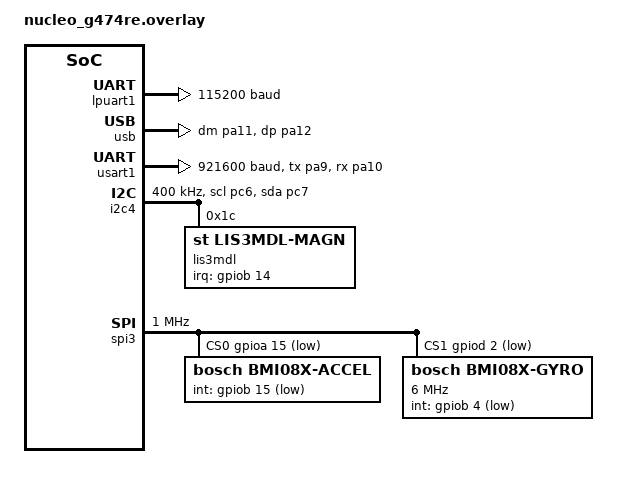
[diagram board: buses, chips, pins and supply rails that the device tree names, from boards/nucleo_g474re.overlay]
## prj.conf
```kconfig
CONFIG_GPIO=y
CONFIG_MICROROS=y
CONFIG_MICROROS_TRANSPORT_SERIAL_USB=n
CONFIG_MICROROS_TRANSPORT_SERIAL=y

CONFIG_MAIN_STACK_SIZE=25000
CONFIG_MAIN_THREAD_PRIORITY=3

CONFIG_NEWLIB_LIBC=y
CONFIG_NEWLIB_LIBC_NANO=n
CONFIG_PTHREAD_IPC=n

CONFIG_POSIX_API=y
CONFIG_APP_LINK_WITH_POSIX_SUBSYS=y
CONFIG_POSIX_CLOCK=y

CONFIG_STDOUT_CONSOLE=y
CONFIG_LOG=y
CONFIG_SERIAL=y
CONFIG_UART_INTERRUPT_DRIVEN=y
CONFIG_UART_LINE_CTRL=y

CONFIG_I2C=y
CONFIG_SENSOR=y
CONFIG_GPIO=y

CONFIG_LIS3MDL_TRIGGER_OWN_THREAD=y
CONFIG_LIS3MDL_ODR="155"


CONFIG_USB_DEVICE_STACK=y
CONFIG_USB_DEVICE_PRODUCT="Zephyr micro-ROS"
CONFIG_LOG=y
CONFIG_USB_CDC_ACM=y
CONFIG_USB_DRIVER_LOG_LEVEL_ERR=y
CONFIG_USB_DEVICE_LOG_LEVEL_ERR=y
CONFIG_USB_CDC_ACM_RINGBUF_SIZE=2048


CONFIG_MICROROS_XRCE_DDS_MTU="512"
CONFIG_MICROROS_XRCE_DDS_HISTORIC="4"
```

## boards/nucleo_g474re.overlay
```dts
/ {
    aliases {
        uros-serial-port = &usart1;
        
    };
    chosen {
        zephyr,canbus = &fdcan1;
        //zephyr,console=&usart1;
    };
};


&lpuart1{
    status="okay";
    current-speed=<115200>;
    //status = "disabled";
};


zephyr_udc0: &usb {
	pinctrl-0 = <&usb_dm_pa11 &usb_dp_pa12>;
	pinctrl-names = "default";
	status = "okay";
}; 
 
&zephyr_udc0 {
    cdc_acm_uart0: cdc_acm_uart0 {
            compatible = "zephyr,cdc-acm-uart";
            label = "CDC_ACM_0";
    };
}; 

&usart1{
    //pinctrl-0 = <&usart1_tx_pb6 &usart1_rx_pb7>;
    pinctrl-0 = <&usart1_tx_pa9 &usart1_rx_pa10>;
    pinctrl-names="default";
    current-speed=<921600>;
    status="okay";
    
};
&i2c4 {
    clock-frequency = <I2C_BITRATE_FAST>;
    status = "okay";
    pinctrl-0 = <&i2c4_scl_pc6 &i2c4_sda_pc7>;
	pinctrl-names = "default";


    
    lis3mdl: lis3mdl-magn@1c                                                           {
        compatible = "st,lis3mdl-magn";
        reg = <0x1c>;
        status = "okay";
        irq-gpios = < &gpiob 14 GPIO_ACTIVE_HIGH >;
    };

    
};

&spi3 {                                                                                                                                            
    clock-frequency = <1000000>;                                                                                                                   
    status = "ok";                                                                                                                                 
    cs-gpios = <&gpioa 15 GPIO_ACTIVE_LOW>,                                                                                                        
                <&gpiod 2 GPIO_ACTIVE_LOW>;                                                                                                        
    bmi08x-accel@0 {                                                                                                                               
        compatible = "bosch,bmi08x-accel";                                                                                                         
        reg = <0x0 >;                                                                                                                              
        spi-max-frequency = <0>;                                                                                                                   
        accel-hz = "100";                                                                                                                          
        accel-fs = <4>;                                                                                                                            
        int-gpios = <&gpiob 15 GPIO_ACTIVE_LOW>;                                                                                                   
        int1-map-io = <1>;                                                                                                                         
        int1-conf-io = <0>;                                                                                                                        
        int2-map-io = <0>;                                                                                                                         
        int2-conf-io = <0>;                                                                                                                        
                                                                                                                                                   
    };                                                                                                                                             
                                                                                                                                                   
    bmi08x-gyro@1 {                                                                                                                                
        compatible = "bosch,bmi08x-gyro";                                                                                                          
        reg = <0x1 >;                                                                                                                              
        spi-max-frequency = <6000000>;                                                                                                             
        gyro-hz = "100_32";                                                                                                                        
        gyro-fs = <500>;                                                                                                                           
        int-gpios = <&gpiob 4 GPIO_ACTIVE_LOW >;                                                                                                   
        int3-4-map-io = <128>;                                                                                                                     
        int3-4-conf-io = < 0 >;                                                                                                                    
    };                                                                                                                                             
                                                                                                                                                   
}; 
```

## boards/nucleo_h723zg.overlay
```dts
/ {
    aliases {
        uros-serial-port = &usart3;
    };
    chosen {
        zephyr,canbus = &fdcan1;
    };
};

&usart3 {
    status = "okay"; 
    current-speed = <921600>; 
};

&fdcan1 {
    status = "okay";
    bus-speed = < 500000 >;
    bus-speed-data = < 500000 >;
    pinctrl-0 = < &fdcan1_rx_pb8 &fdcan1_tx_pb9 >;
    pinctrl-names = "default";
    
};

&zephyr_udc0 {
    cdc_acm_uart0: cdc_acm_uart0 {
            compatible = "zephyr,cdc-acm-uart";
            label = "CDC_ACM_0";
    };
};


&arduino_i2c {
    clock-frequency = <I2C_BITRATE_FAST>;
    status = "okay";
    
    /*lsm6dsv16x: lsm6dsv16x@6b {
    compatible = "st,lsm6dsv16x";
    reg = <0x6b>; 
    status = "okay"; 
    }; */


    
    lis3mdl: lis3mdl-magn@1c                                                           {
        compatible = "st,lis3mdl-magn";
        reg = <0x1c>;
        status = "okay";
        irq-gpios = < &arduino_header 5 GPIO_ACTIVE_HIGH >;
    };

     bm280@77 {
        compatible = "bosch,bme280";
        reg = <0x77 >;
    };

    

    
};
```

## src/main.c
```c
#include <version.h>

#if ZEPHYR_VERSION_CODE >= ZEPHYR_VERSION(3,1,0)
#include <zephyr/kernel.h>
#include <zephyr/device.h>
#include <zephyr/devicetree.h>
#include <zephyr/drivers/gpio.h>
#include <zephyr/posix/time.h>
#include <zephyr/drivers/sensor.h>

#else
#include <zephyr.h>
#include <device.h>
#include <devicetree.h>
#include <drivers/gpio.h>
#include <posix/time.h>
#endif

#include <rcl/rcl.h>
#include <rcl/error_handling.h>
#include <std_msgs/msg/int32.h>
#include <sensor_msgs/msg/magnetic_field.h>

#include <rclc/rclc.h>
#include <rclc/executor.h>

#include <rmw_microros/rmw_microros.h>
#include <microros_transports.h>
#include <type_utilities.h>

#include <math.h>



#define RCCHECK(fn) { rcl_ret_t temp_rc = fn; if((temp_rc != RCL_RET_OK)){printf("Failed status on line %d: %d. Aborting.\n",__LINE__,(int)temp_rc);for(;;){};}}
#define RCSOFTCHECK(fn) { rcl_ret_t temp_rc = fn; if((temp_rc != RCL_RET_OK)){printf("Failed status on line %d: %d. Continuing.\n",__LINE__,(int)temp_rc);}}

rcl_publisher_t mag_publisher;
sensor_msgs__msg__MagneticField mag_msg;

double mag_x,mag_y,mag_z;

static micro_ros_utilities_memory_conf_t conf = {0};
bool start_publisher = 0;

K_MSGQ_DEFINE(mag_msgq, sizeof(struct sensor_value) *3 , 10, 1);

#ifdef CONFIG_LIS3MDL_TRIGGER


static void lis3mdl_trigger_handler(const struct device *dev,
				    const struct sensor_trigger *trig)
{
	struct sensor_value magn_xyz[3];
	sensor_sample_fetch_chan(dev, trig->chan);
	sensor_channel_get(dev, SENSOR_CHAN_MAGN_XYZ, magn_xyz);
	if(start_publisher==1)
	{
		if(k_msgq_put(&mag_msgq, &magn_xyz, K_NO_WAIT)!=0)
		{
			k_msgq_purge(&mag_msgq);
			printf("MSG QUEUE Purged\n");
		}
	}
	
	
	
}
#endif


void publish_mag(struct sensor_value magn_xyz[3])					//(rcl_timer_t * timer, int64_t last_call_time)
{
	
	mag_x=sensor_value_to_double(&magn_xyz[0]);
	mag_y=sensor_value_to_double(&magn_xyz[1]),
	mag_z=sensor_value_to_double(&magn_xyz[2]);
	
	
	mag_msg.magnetic_field.x = mag_x * 10e4;
	mag_msg.magnetic_field.y = mag_y * 10e4;
	mag_msg.magnetic_field.z = mag_z * 10e4;
	uint64_t time_ns =rmw_uros_epoch_nanos();
	mag_msg.header.stamp.nanosec = time_ns % RCL_S_TO_NS(1);
	mag_msg.header.stamp.sec = (int32_t) RCL_NS_TO_S(time_ns);
	sprintf(mag_msg.header.frame_id.data, "imu1");
	mag_msg.header.frame_id.size  = strlen(mag_msg.header.frame_id.data);
	RCSOFTCHECK(rcl_publish(&mag_publisher, &mag_msg, NULL));
		
}

void main(void)
{
	
	printk("Hello Test: \n");
	const struct device *const mag_dev = DEVICE_DT_GET(DT_NODELABEL(lis3mdl));

	if (mag_dev == NULL) {
		/* No such node, or the node does not have status "okay". */
		printf("\nError: no device found.\n");
	}
	
	
	if (!device_is_ready(mag_dev)) {                              
		printf("%s: device not ready.\n",mag_dev);
	
	}
	else
	{
		//printf("%s Device ready!\n",mag_dev);
	}

	
	#ifdef CONFIG_LIS3MDL_TRIGGER
	struct sensor_trigger trig;
	int cnt = 1;
	trig.type = SENSOR_TRIG_DATA_READY;
	trig.chan = SENSOR_CHAN_MAGN_XYZ;
	sensor_trigger_set(mag_dev, &trig, lis3mdl_trigger_handler);
	#endif
	
	rmw_uros_set_custom_transport(
		MICRO_ROS_FRAMING_REQUIRED,
		(void *) DEVICE_DT_GET(DT_ALIAS(uros_serial_port)),
		//NULL,
		zephyr_transport_open,
		zephyr_transport_close,
		zephyr_transport_write,
		zephyr_transport_read
	);

	/**
	 * Loop until micro-ROS Agent is up
	 */
	while (RMW_RET_OK != rmw_uros_ping_agent(1000, 1)) {
		printf("Please, start your micro-ROS Agent first\n");
		k_sleep(K_MSEC(100));
	}

	rcl_allocator_t allocator = rcl_get_default_allocator();
	rclc_support_t support;

	// create init_options
	RCCHECK(rclc_support_init(&support, 0, NULL, &allocator));


	//Allocate memory for mag message
	conf.max_string_capacity =50;
	conf.max_ros2_type_sequence_capacity = 5;
	conf.max_basic_type_sequence_capacity = 5;



	bool succes = micro_ros_utilities_create_message_memory(
		ROSIDL_GET_MSG_TYPE_SUPPORT(sensor_msgs,msg,MagneticField),
		&mag_msg,
		conf
	);

	// create node
	rcl_node_t node;
	RCCHECK(rclc_node_init_default(&node, "mag", "", &support));
	rmw_uros_sync_session(1000);

	// create publisher
	RCCHECK(rclc_publisher_init_best_effort(
		&mag_publisher,
		&node,
		ROSIDL_GET_MSG_TYPE_SUPPORT(sensor_msgs, msg, MagneticField),
		"imu/mag"));


	// create executor
	rclc_executor_t executor;
	RCCHECK(rclc_executor_init(&executor, &support.context, 1, &allocator));
	//RCCHECK(rclc_executor_add_timer(&executor, &timer));

	start_publisher=1;

	while(1){
		#ifndef CONFIG_LIS3MDL_TRIGGER
		printf("Called NO Trigger \n");
		if (sensor_sample_fetch(mag_dev) < 0) {
			//printf("LIS3MDL Sensor sample update error\n");
			return 0;
		}
		#endif

		
		//rclc_executor_spin_some(&executor,1000);
		struct sensor_value magn_xyz [3]; 
		
		if(k_msgq_get(&mag_msgq,&magn_xyz, K_FOREVER)==0)
		{
			printf("Received,  queue len: %d\n",k_msgq_num_used_get(&mag_msgq));
			publish_mag(magn_xyz);
		}
		
	

		
	}

	// free resources
	RCCHECK(rcl_publisher_fini(&mag_publisher, &node))
	RCCHECK(rcl_node_fini(&node))
}
```
